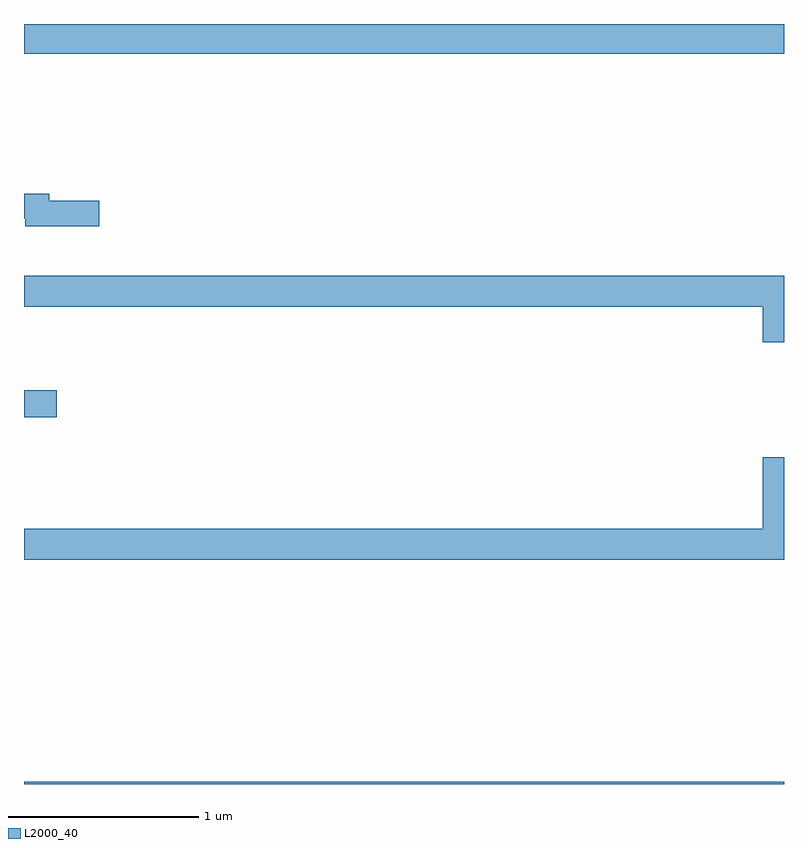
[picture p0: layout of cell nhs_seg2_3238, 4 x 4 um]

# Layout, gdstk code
import gdstk
lib = gdstk.Library(unit=1e-6, precision=1e-09)
def R(c, l, rs):  # rectangles x0, y0, x1, y1
    for r in rs: c.add(gdstk.rectangle(r[:2], r[2:], *l))
def P(c, l, *ps):  # polygons
    for p in ps: c.add(gdstk.Polygon(p, *l))
L2000_40 = (2000, 40)

nhs_seg2_3238 = lib.new_cell('nhs_seg2_3238')
R(nhs_seg2_3238, L2000_40, [(281,635.8,285,635.812), (281,637.73,281.173,637.872), (281,639.644,285,639.8)])
P(nhs_seg2_3238, L2000_40, [(281.395,638.87),(281.134,638.87),(281.134,638.906),(281,638.906),(281,638.778),(281.006,638.778),(281.006,638.735),(281.395,638.735)],
  [(285,638.476),(281,638.476),(281,638.312),(284.888,638.312),(284.888,638.124),(285,638.124)],
  [(285,637.519),(284.888,637.519),(284.888,637.144),(281,637.144),(281,636.98),(285,636.98)])

lib.write_gds('nhs_seg2_3238.gds')
